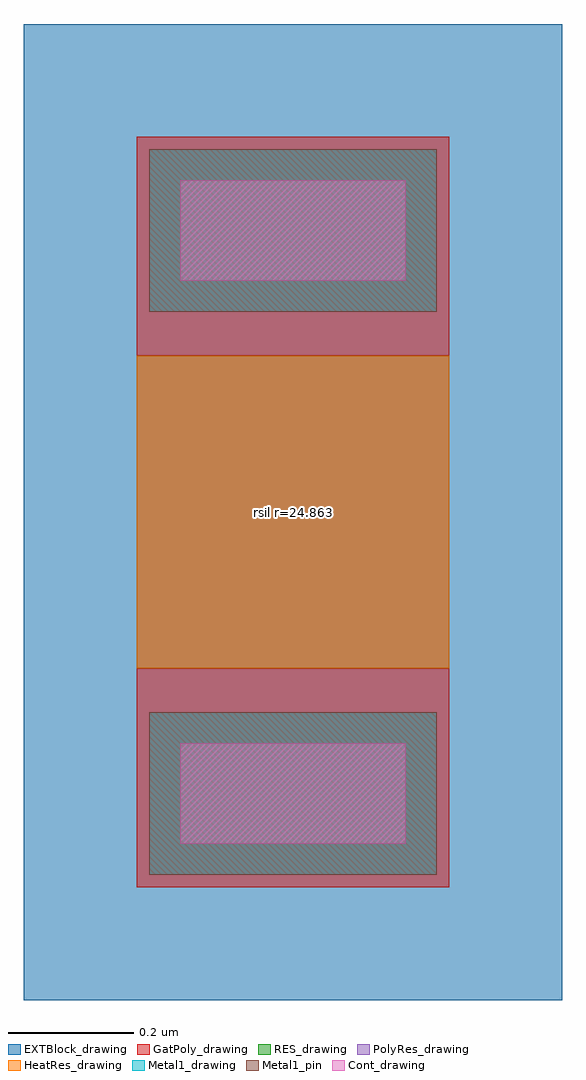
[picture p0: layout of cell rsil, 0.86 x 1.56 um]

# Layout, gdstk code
import gdstk
lib = gdstk.Library(unit=1e-6, precision=1e-09)
def R(c, l, rs):  # rectangles x0, y0, x1, y1
    for r in rs: c.add(gdstk.rectangle(r[:2], r[2:], *l))
GatPoly_drawing = (5, 0)
Cont_drawing = (6, 0)
Metal1_drawing = (8, 0)
Metal1_pin = (8, 2)
RES_drawing = (24, 0)
HeatRes_drawing = (52, 0)
EXTBlock_drawing = (111, 0)
PolyRes_drawing = (128, 0)

rsil = lib.new_cell('rsil')
R(rsil, GatPoly_drawing, [(0,-0.35,0.5,0), (0,0.5,0.5,0.85)])
R(rsil, Cont_drawing, [(0.07,-0.28,0.43,-0.12), (0.07,0.62,0.43,0.78)])
R(rsil, Metal1_drawing, [(0.02,-0.33,0.48,-0.07), (0.02,0.57,0.48,0.83)])
R(rsil, Metal1_pin, [(0.02,-0.33,0.48,-0.07), (0.02,0.57,0.48,0.83)])
R(rsil, RES_drawing, [(0,0,0.5,0.5)])
R(rsil, HeatRes_drawing, [(0,0,0.5,0.5)])
R(rsil, EXTBlock_drawing, [(-0.18,-0.53,0.68,0), (-0.18,0,0.68,1.03), (-0.18,0,0.68,0.5)])
R(rsil, PolyRes_drawing, [(0,0,0.5,0.5)])
rsil.add(gdstk.Label('rsil r=24.863', (0.25,0.25), layer=63, texttype=0))
rsil.add(gdstk.Label('rsil', (0.25,0.25), layer=52, texttype=0))

lib.write_gds('rsil.gds')
